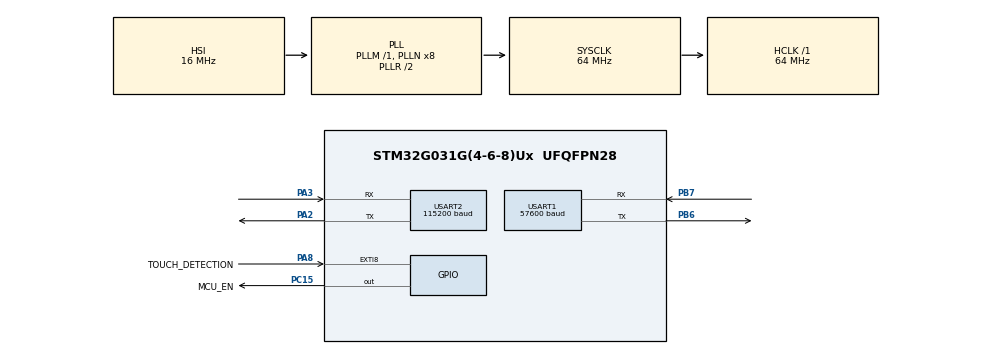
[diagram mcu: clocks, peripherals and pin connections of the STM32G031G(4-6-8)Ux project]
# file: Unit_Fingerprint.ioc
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Dma.Request0=USART1_TX
Dma.Request1=USART1_RX
Dma.Request2=USART2_RX
Dma.Request3=USART2_TX
Dma.USART1_RX.1.Direction=DMA_PERIPH_TO_MEMORY
Dma.USART1_RX.1.EventEnable=DISABLE
Dma.USART1_RX.1.Instance=DMA1_Channel2
Dma.USART1_RX.1.MemDataAlignment=DMA_MDATAALIGN_BYTE
Dma.USART1_RX.1.MemInc=DMA_MINC_ENABLE
Dma.USART1_RX.1.Mode=DMA_NORMAL
Dma.USART1_RX.1.PeriphDataAlignment=DMA_PDATAALIGN_BYTE
Dma.USART1_RX.1.PeriphInc=DMA_PINC_DISABLE
Dma.USART1_RX.1.Polarity=HAL_DMAMUX_REQ_GEN_RISING
Dma.USART1_RX.1.Priority=DMA_PRIORITY_LOW
Dma.USART1_RX.1.RequestNumber=1
Dma.USART1_RX.1.SignalID=NONE
Dma.USART1_RX.1.SyncEnable=DISABLE
Dma.USART1_RX.1.SyncPolarity=HAL_DMAMUX_SYNC_NO_EVENT
Dma.USART1_RX.1.SyncRequestNumber=1
Dma.USART1_RX.1.SyncSignalID=NONE
Dma.USART1_TX.0.Direction=DMA_MEMORY_TO_PERIPH
Dma.USART1_TX.0.EventEnable=DISABLE
Dma.USART1_TX.0.Instance=DMA1_Channel1
Dma.USART1_TX.0.MemDataAlignment=DMA_MDATAALIGN_BYTE
Dma.USART1_TX.0.MemInc=DMA_MINC_ENABLE
Dma.USART1_TX.0.Mode=DMA_NORMAL
Dma.USART1_TX.0.PeriphDataAlignment=DMA_PDATAALIGN_BYTE
Dma.USART1_TX.0.PeriphInc=DMA_PINC_DISABLE
Dma.USART1_TX.0.Polarity=HAL_DMAMUX_REQ_GEN_RISING
Dma.USART1_TX.0.Priority=DMA_PRIORITY_LOW
Dma.USART1_TX.0.RequestNumber=1
Dma.USART1_TX.0.SignalID=NONE
Dma.USART1_TX.0.SyncEnable=DISABLE
Dma.USART1_TX.0.SyncPolarity=HAL_DMAMUX_SYNC_NO_EVENT
Dma.USART1_TX.0.SyncRequestNumber=1
Dma.USART1_TX.0.SyncSignalID=NONE
Dma.USART2_RX.2.Direction=DMA_PERIPH_TO_MEMORY
Dma.USART2_RX.2.EventEnable=DISABLE
Dma.USART2_RX.2.Instance=DMA1_Channel3
Dma.USART2_RX.2.MemDataAlignment=DMA_MDATAALIGN_BYTE
Dma.USART2_RX.2.MemInc=DMA_MINC_ENABLE
Dma.USART2_RX.2.Mode=DMA_NORMAL
Dma.USART2_RX.2.PeriphDataAlignment=DMA_PDATAALIGN_BYTE
Dma.USART2_RX.2.PeriphInc=DMA_PINC_DISABLE
Dma.USART2_RX.2.Polarity=HAL_DMAMUX_REQ_GEN_RISING
Dma.USART2_RX.2.Priority=DMA_PRIORITY_LOW
Dma.USART2_RX.2.RequestNumber=1
Dma.USART2_RX.2.SignalID=NONE
Dma.USART2_RX.2.SyncEnable=DISABLE
Dma.USART2_RX.2.SyncPolarity=HAL_DMAMUX_SYNC_NO_EVENT
Dma.USART2_RX.2.SyncRequestNumber=1
Dma.USART2_RX.2.SyncSignalID=NONE
Dma.USART2_TX.3.Direction=DMA_MEMORY_TO_PERIPH
Dma.USART2_TX.3.EventEnable=DISABLE
Dma.USART2_TX.3.Instance=DMA1_Channel4
Dma.USART2_TX.3.MemDataAlignment=DMA_MDATAALIGN_BYTE
Dma.USART2_TX.3.MemInc=DMA_MINC_ENABLE
Dma.USART2_TX.3.Mode=DMA_NORMAL
Dma.USART2_TX.3.PeriphDataAlignment=DMA_PDATAALIGN_BYTE
Dma.USART2_TX.3.PeriphInc=DMA_PINC_DISABLE
Dma.USART2_TX.3.Polarity=HAL_DMAMUX_REQ_GEN_RISING
Dma.USART2_TX.3.Priority=DMA_PRIORITY_LOW
Dma.USART2_TX.3.RequestNumber=1
Dma.USART2_TX.3.SignalID=NONE
Dma.USART2_TX.3.SyncEnable=DISABLE
Dma.USART2_TX.3.SyncPolarity=HAL_DMAMUX_SYNC_NO_EVENT
Dma.USART2_TX.3.SyncRequestNumber=1
Dma.USART2_TX.3.SyncSignalID=NONE
IWDG.Prescaler=IWDG_PRESCALER_16
Mcu.Family=STM32G0
Mcu.Name=STM32G031G(4-6-8)Ux
Mcu.Package=UFQFPN28
NVIC.DMA1_Ch4_5_DMAMUX1_OVR_IRQn=true\:1\:0\:true\:false\:true\:false\:true\:true
NVIC.DMA1_Channel1_IRQn=true\:1\:0\:true\:false\:true\:false\:true\:true
NVIC.DMA1_Channel2_3_IRQn=true\:1\:0\:true\:false\:true\:false\:true\:true
NVIC.EXTI4_15_IRQn=true\:2\:0\:true\:false\:true\:true\:true\:true
NVIC.FLASH_IRQn=true\:1\:0\:true\:false\:true\:true\:true\:true
NVIC.TIM2_IRQn=true\:2\:0\:true\:false\:true\:true\:true\:true
NVIC.USART1_IRQn=true\:0\:0\:false\:false\:true\:false\:true\:true
NVIC.USART2_IRQn=true\:0\:0\:false\:false\:true\:false\:true\:true
PA2.GPIO_PuPd=GPIO_NOPULL
PA2.GPIO_Speed=GPIO_SPEED_FREQ_HIGH
PA2.Mode=Asynchronous
PA2.PinState=GPIO_PIN_RESET
PA2.Signal=USART2_TX
PA3.GPIO_PuPd=GPIO_NOPULL
PA3.GPIO_Speed=GPIO_SPEED_FREQ_HIGH
PA3.Mode=Asynchronous
PA3.PinState=GPIO_PIN_RESET
PA3.Signal=USART2_RX
PA8.GPIO_Label=TOUCH_DETECTION
PA8.GPIO_ModeDefaultEXTI=GPIO_MODE_IT_RISING_FALLING
PA8.GPIO_PuPd=GPIO_PULLDOWN
PA8.Signal=GPXTI8
PB6.GPIO_FM6=SYSCFG_FASTMODEPLUS_PB6
PB6.GPIO_PuPd=GPIO_PULLUP
PB6.GPIO_Speed=GPIO_SPEED_FREQ_HIGH
PB6.Mode=Asynchronous
PB6.Signal=USART1_TX
PB7.GPIO_FM7=SYSCFG_FASTMODEPLUS_PB7
PB7.GPIO_PuPd=GPIO_PULLUP
PB7.GPIO_Speed=GPIO_SPEED_FREQ_HIGH
PB7.Mode=Asynchronous
PB7.Signal=USART1_RX
PC15-OSC32_OUT\ (PC15).GPIO_Label=MCU_EN
PC15-OSC32_OUT\ (PC15).GPIO_ModeDefaultOutputPP=GPIO_MODE_OUTPUT_PP
PC15-OSC32_OUT\ (PC15).GPIO_PuPd=GPIO_NOPULL
PC15-OSC32_OUT\ (PC15).GPIO_Speed=GPIO_SPEED_FREQ_LOW
PC15-OSC32_OUT\ (PC15).PinState=GPIO_PIN_RESET
PC15-OSC32_OUT\ (PC15).Signal=GPIO_Output
ProjectManager.HeapSize=0x200
ProjectManager.StackSize=0x400
ProjectManager.TargetToolchain=STM32CubeIDE
RCC.ADCFreq_Value=64000000
RCC.AHBFreq_Value=64000000
RCC.CortexFreq_Value=64000000
RCC.EXTERNAL_CLOCK_VALUE=12288000
RCC.HCLKFreq_Value=64000000
RCC.HSE_VALUE=8000000
RCC.HSI_VALUE=16000000
RCC.LSE_VALUE=32768
RCC.SYSCLKFreq_VALUE=64000000
RCC.SYSCLKSource=RCC_SYSCLKSOURCE_PLLCLK
RCC.VCOOutputFreq_Value=128000000
TIM2.AutoReloadPreload=TIM_AUTORELOAD_PRELOAD_DISABLE
TIM2.Prescaler=63999
USART1.BaudRate=57600
USART1.StopBits=STOPBITS_2
USART1.VirtualMode-Asynchronous=VM_ASYNC
USART2.BaudRate=115200
USART2.VirtualMode-Asynchronous=VM_ASYNC
VP_IWDG_VS_IWDG.Mode=IWDG_Activate
VP_TIM2_VS_ClockSourceINT.Mode=Internal
board=custom

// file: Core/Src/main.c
/* USER CODE BEGIN Header */
/**
 ******************************************************************************
 * @file           : main.c
 * @brief          : Main program body
 ******************************************************************************
 * @attention
 *
 * Copyright (c) 2025 STMicroelectronics.
 * All rights reserved.
 *
 * This software is licensed under terms that can be found in the LICENSE file
 * in the root directory of this software component.
 * If no LICENSE file comes with this software, it is provided AS-IS.
 *
 ******************************************************************************
 */
/* USER CODE END Header */
#include "main.h"
#include "dma.h"
#include "iwdg.h"
#include "tim.h"
#include "usart.h"
#include "gpio.h"

/* USER CODE BEGIN Includes */
#include "stdbool.h"
#include "stdio.h"
#include "myflash.h"
#include "fingerprint.h"
#include "string.h"
/* USER CODE END Includes */

/* USER CODE BEGIN PD */
#define APPLICATION_ADDRESS (0x08002000)
#define SLEEP_TIME_BASE     (10)
#define WORK_MODE_BASE      (0)
#define INVALID_VALUE       (0xFF)

#define PACKET_MAX_SIZE 16  // Maximum packet size

typedef struct {
    uint8_t data[PACKET_MAX_SIZE];  // Data packet buffer
    uint16_t size;                  // Data packet size
    uint8_t cmd;                    // Command byte
    uint8_t valid;                  // Valid flag (1: valid, 0: invalid)
} buffer_cache_cmd_t;

buffer_cache_cmd_t buffer_cache_cmd = {0};  // Single buffer cache instance

/* USER CODE END PD */

/* USER CODE BEGIN PV */
__IO uint8_t finger_uart_buffer[2][BUFFER_SIZE];  // Buffer for finger UART data, double buffer for receiving data
__IO uint8_t stm32_uart_buffer[2][BUFFER_SIZE];   // Buffer for STM32 UART data, double buffer for receiving data
__IO uint8_t finger_uart_buffer_index = 0;        // Index to track the current position in the finger UART buffer
__IO uint8_t stm32_uart_buffer_index  = 0;        // Index to track the current position in the STM32 UART buffer

__IO uint8_t sleep_time = 0;  // sleep timeout

__IO uint8_t fingerprint_addr_buffer[4] = {0};  // Buffer to store the fingerprint module address (Big-Endian format)

__IO uint8_t rising_edge_irq_flag     = 0;  // Flag to indicate a rising edge interrupt occurred
__IO uint32_t rising_edge_irq_timeout = 0;  // Timestamp of the rising edge interrupt

__IO uint8_t falling_edge_irq_flag     = 0;  // Flag to indicate a falling edge interrupt occurred
__IO uint32_t falling_edge_irq_timeout = 0;  // Timestamp of the falling edge interrupt

__IO uint8_t fingerprint_mcu_power_status         = FINGERPRINT_MCU_POWER_OFF;
__IO uint8_t fingerprint_mcu_init_status          = FINGERPRINT_MCU_INIT_INCOMPLETE;
__IO uint8_t fingerprint_sensor_sleep_status      = FINGERPRINT_SENSOR_AWAKE;
__IO uint8_t fingerprint_data_forward_flag_status = FINGERPRINT_DATA_FORWARD_ENABLED;
__IO uint8_t fingerprint_wait_event_status        = WAIT_EVENT_NONE;
__IO uint8_t fingerprint_irq_trigger_status       = INTERRUPT_TRIGGER_NONE;
__IO uint8_t int_reset_flag                       = 0;

__IO uint8_t timer_timeout_status = TIMER_TIMEOUT_NOT_OCCURRED;

__IO uint8_t work_mode_status = WORK_MODE_SLEEP_PERIODIC;

__IO uint8_t fingerprint_module_busy_return_status = FINGERPRINT_BUSY_NOT_RETURNED;

__IO uint8_t finger_check_in_progress = 0;
__IO uint8_t finger_check_success     = 0;
__IO uint8_t finger_check_failed      = 0;

const uint8_t blocked_cmd[256] = {
    [0x08] = 1,
    [0x09] = 1,
    [0x0B] = 1,
    [0x12] = 1,
    [0x13] = 1,
    [0x15] = 1,
    [0x1A] = 1,
    [0x3B] = 1,
    [0xE0] = 1,
    [0xE1] = 1,
    [0xE2] = 1,
    [0xE3] = 1,
    [0xE4] = 1
};

/* USER CODE END PV */

void SystemClock_Config(void);

/* USER CODE BEGIN 0 */
void iap_set()
{
    uint8_t i;
    uint32_t *pVecTab = (uint32_t *)(0x20000000);
    for (i = 0; i < 48; i++) {
        *(pVecTab++) = *(__IO uint32_t *)(APPLICATION_ADDRESS + (i << 2));
    }
    /* Enable the SYSCFG peripheral clock*/
    __HAL_RCC_SYSCFG_CLK_ENABLE();
    __HAL_SYSCFG_REMAPMEMORY_SRAM();
}

void unit_fingerprint_init(void)
{
    uint8_t flag = 0;  // Flag to track if default values are set

    // Retrieve active sleep timeout
    uint8_t temp = get_sleep_time();
    if (temp == INVALID_VALUE) {
        sleep_time = SLEEP_TIME_BASE;  // Set to default timeout
        flag++;                        // Indicate a default value was set
    } else {
        sleep_time = temp;  // Use stored value
    }

    // If any default values were set, save them to flash memory
    if (flag != 0) {
        set_sleep_time(sleep_time);
    }

    flag = 0;  // Reset flag for work mode status

    // Retrieve work mode status
    temp = get_work_mode();
    if (temp == INVALID_VALUE) {
        work_mode_status = WORK_MODE_BASE;  // Set to default work mode
        flag++;                             // Indicate a default value was set
    } else {
        work_mode_status = temp;  // Use stored value
    }

    // If any default values were set, save them to flash memory
    if (flag != 0) {
        set_work_mode(work_mode_status);
    }

    // Store the address in a buffer (Big-Endian format)
    for(uint8_t i=0;i<4;i++){
        fingerprint_addr_buffer[i] = 0xFF;
    }
}

void process_buffer_cache_cmd()
{
    if (!packet_check(buffer_cache_cmd.data, buffer_cache_cmd.size)) {
        switch (buffer_cache_cmd.cmd) {
            case CMD_SET_SLEEP_TIME:
                set_sleep_time_handle(buffer_cache_cmd.data[10]);
                break;
            case CMD_GET_SLEEP_TIME:
                get_sleep_time_handle();
                break;
            case CMD_SET_WORK_MODE:
                set_work_mode_handle(buffer_cache_cmd.data[10]);
                break;
            case CMD_GET_WORK_MODE:
                get_work_mode_handle();
                break;
            case CMD_ACTIVATE_FINGERPRINT_MODULE:
                activate_fingerprint_module_handle();
                break;
            case CMD_GET_FINGERPRINT_MODULE_STATUS:
                get_fingerprint_module_status_handle();
                break;
            case CMD_SAVE_CONFIGURATION_STATUS:
                save_configuration_status_handle(buffer_cache_cmd.data[10]);
                break;
            case CMD_GET_FIRMWARE_VERSION:
                get_stm32_fw_ver();
                break;
            case CMD_IAP_RESET_STM32_MCU:
                iap_reset_stm32_mcu_handle();
                break;
            default:
                break;
        }
    } else {
        return_data_packet_handle(RECEIVE_PACKET_ERROR);
    }
}

/* USER CODE END 0 */

int main(void)
{
    /* USER CODE BEGIN 1 */
    iap_set();
    unit_fingerprint_init();
    /* USER CODE END 1 */

    /* MCU Configuration--------------------------------------------------------*/

    /* Reset of all peripherals, Initializes the Flash interface and the Systick. */
    HAL_Init();

    /* Configure the system clock */
    SystemClock_Config();

    /* Initialize all configured peripherals */
    MX_GPIO_Init();
    MX_DMA_Init();
    MX_USART1_UART_Init();
    MX_USART2_UART_Init();
    MX_IWDG_Init();
    MX_TIM2_Init();
    /* USER CODE BEGIN 2 */

    HAL_TIM_Base_Stop_IT(&htim2);
    __HAL_GPIO_EXTI_CLEAR_IT(TOUCH_DETECTION_Pin);
    HAL_NVIC_DisableIRQ(EXTI4_15_IRQn);

    // Initialize the fingerprint module
#if DEBUG
    printf("MCU Start\r\n");
#endif

    // Enable UART1 DMA idle-line reception interrupt
    HAL_UARTEx_ReceiveToIdle_DMA(&huart1, finger_uart_buffer[finger_uart_buffer_index], BUFFER_SIZE);
    finger_uart_buffer_index ^= 1;
    __HAL_DMA_DISABLE_IT(&hdma_usart1_rx, DMA_IT_HT);
    __HAL_UART_CLEAR_IDLEFLAG(&huart1);
    __HAL_UART_ENABLE_IT(&huart1, UART_IT_IDLE);

    fingerprint_init();

    // Enable UART1 DMA idle-line reception interrupt
    HAL_UARTEx_ReceiveToIdle_DMA(&huart2, stm32_uart_buffer[stm32_uart_buffer_index], BUFFER_SIZE);
    stm32_uart_buffer_index ^= 1;
    __HAL_DMA_DISABLE_IT(&hdma_usart2_rx, DMA_IT_HT);
    __HAL_UART_CLEAR_IDLEFLAG(&huart2);
    __HAL_UART_ENABLE_IT(&huart2, UART_IT_IDLE);

    /* USER CODE END 2 */

    /* Infinite loop */
    /* USER CODE BEGIN WHILE */
    while (1) {
        if (buffer_cache_cmd.valid) {
            // Process the buffer cache command
            process_buffer_cache_cmd();
            // Reset the buffer cache command after processing
            buffer_cache_cmd.valid = 0;
        } else {
            HAL_UARTEx_ReceiveToIdle_DMA(&huart2, stm32_uart_buffer[1 - stm32_uart_buffer_index], BUFFER_SIZE);
            __HAL_DMA_DISABLE_IT(&hdma_usart2_rx, DMA_IT_HT);
        }
        // If a timeout occurs, attempt to shut down the fingerprint module.
        if (timer_timeout_status == TIMER_TIMEOUT_OCCURRED) {
            start_finger_check();
        }

        /* USER CODE END WHILE */

        /* USER CODE BEGIN 3 */
        HAL_IWDG_Refresh(&hiwdg);
    }
    /* USER CODE END 3 */
}

void SystemClock_Config(void)
{
    RCC_OscInitTypeDef RCC_OscInitStruct = {0};
    RCC_ClkInitTypeDef RCC_ClkInitStruct = {0};

    /** Configure the main internal regulator output voltage
     */
    HAL_PWREx_ControlVoltageScaling(PWR_REGULATOR_VOLTAGE_SCALE1);

    /** Initializes the RCC Oscillators according to the specified parameters
     * in the RCC_OscInitTypeDef structure.
     */
    RCC_OscInitStruct.OscillatorType      = RCC_OSCILLATORTYPE_HSI | RCC_OSCILLATORTYPE_LSI;
    RCC_OscInitStruct.HSIState            = RCC_HSI_ON;
    RCC_OscInitStruct.HSIDiv              = RCC_HSI_DIV1;
    RCC_OscInitStruct.HSICalibrationValue = RCC_HSICALIBRATION_DEFAULT;
    RCC_OscInitStruct.LSIState            = RCC_LSI_ON;
    RCC_OscInitStruct.PLL.PLLState        = RCC_PLL_ON;
    RCC_OscInitStruct.PLL.PLLSource       = RCC_PLLSOURCE_HSI;
    RCC_OscInitStruct.PLL.PLLM            = RCC_PLLM_DIV1;
    RCC_OscInitStruct.PLL.PLLN            = 8;
    RCC_OscInitStruct.PLL.PLLP            = RCC_PLLP_DIV2;
    RCC_OscInitStruct.PLL.PLLQ            = RCC_PLLQ_DIV2;
    RCC_OscInitStruct.PLL.PLLR            = RCC_PLLR_DIV2;
    if (HAL_RCC_OscConfig(&RCC_OscInitStruct) != HAL_OK) {
        Error_Handler();
    }

    /** Initializes the CPU, AHB and APB buses clocks
     */
    RCC_ClkInitStruct.ClockType      = RCC_CLOCKTYPE_HCLK | RCC_CLOCKTYPE_SYSCLK | RCC_CLOCKTYPE_PCLK1;
    RCC_ClkInitStruct.SYSCLKSource   = RCC_SYSCLKSOURCE_PLLCLK;
    RCC_ClkInitStruct.AHBCLKDivider  = RCC_SYSCLK_DIV1;
    RCC_ClkInitStruct.APB1CLKDivider = RCC_HCLK_DIV1;

    if (HAL_RCC_ClockConfig(&RCC_ClkInitStruct, FLASH_LATENCY_2) != HAL_OK) {
        Error_Handler();
    }
}

/* USER CODE BEGIN 4 */
void HAL_GPIO_EXTI_Rising_Callback(uint16_t GPIO_Pin)
{
    if (GPIO_Pin == TOUCH_DETECTION_Pin) {
        rising_edge_irq_timeout = HAL_GetTick();
        rising_edge_irq_flag    = 1;
        if (fingerprint_irq_trigger_status == INTERRUPT_TRIGGER_WAKEUP) {
            set_exit_trigger_mode(INTERRUPT_TRIGGER_NONE);
            open_fingerprint_mcu();
            send_passive_wakeup_packet();
            start_timer_handle();
#if DEBUG
            printf("Exit Awake Fingerprint\r\n");
#endif
        }
    }
}
void HAL_GPIO_EXTI_Falling_Callback(uint16_t GPIO_Pin)
{
    if (GPIO_Pin == TOUCH_DETECTION_Pin) {
        falling_edge_irq_timeout = HAL_GetTick();
        falling_edge_irq_flag    = 1;
        if (fingerprint_irq_trigger_status == INTERRUPT_TRIGGER_RESET) {
            uint32_t time_diff = falling_edge_irq_timeout - rising_edge_irq_timeout;
            if (time_diff >= 5 && time_diff <= 15) {
                int_reset_flag = 1;
#if DEBUG
                printf("Sleep Reset Init Success\r\n");
#endif
            }
        }
    }
}

void HAL_TIM_PeriodElapsedCallback(TIM_HandleTypeDef *htim)
{
    if (htim == (&htim2)) {
        if (timer_timeout_status == TIMER_TIMEOUT_NOT_OCCURRED) {
            timer_timeout_status     = TIMER_TIMEOUT_OCCURRED;
            finger_check_in_progress = 0;
            finger_check_success     = 0;
            finger_check_failed      = 0;
            HAL_TIM_Base_Stop_IT(&htim2);
#if DEBUG
            printf("Timer Timeout\r\n");
#endif
        }
    }
}

void HAL_UARTEx_RxEventCallback(UART_HandleTypeDef *huart, uint16_t Size)
{
    if (huart == &huart1) {
        __HAL_UART_CLEAR_IDLEFLAG(&huart1);
        __HAL_UART_CLEAR_OREFLAG(&huart1);
        HAL_UARTEx_ReceiveToIdle_DMA(&huart1, finger_uart_buffer[finger_uart_buffer_index], BUFFER_SIZE);
        __HAL_DMA_DISABLE_IT(&hdma_usart1_rx, DMA_IT_HT);
        __HAL_UART_ENABLE_IT(&huart1, UART_IT_IDLE);
        finger_uart_buffer_index ^= 1;
#if DEBUG
        printf("rx_data_len: %d ", Size);
        printf("rx_data:");
        for (uint8_t i = 0; i < Size; i++) {
            printf(" 0x%02x", finger_uart_buffer[finger_uart_buffer_index][i]);
        }
        printf("\r\n");
#endif
        if (Size > 2) {
            if (fingerprint_data_forward_flag_status == FINGERPRINT_DATA_FORWARD_ENABLED) {
                usart2_transmit_dma(finger_uart_buffer[finger_uart_buffer_index], Size);
            } else {
                if (Size == 12) {
                    uint8_t code   = finger_uart_buffer[finger_uart_buffer_index][9];
                    uint8_t suffix = finger_uart_buffer[finger_uart_buffer_index][11];
                    if (fingerprint_wait_event_status == WAIT_EVENT_SLEEP_RETURN) {
                        if (code == 0x00 && suffix == 0x0A) {
                            fingerprint_sensor_sleep_status = FINGERPRINT_SENSOR_SLEEP;
                        } else if (code == 0x01 && suffix == 0x0B) {
                            fingerprint_sensor_sleep_status = FINGERPRINT_SENSOR_AWAKE;
                        }
                    } else if (fingerprint_wait_event_status == WAIT_EVENT_IMAGE_RETURN) {
                        finger_check_in_progress = 0;
                        if (code == 0x00 && suffix == 0x0A) {
                            finger_check_success++;
                        } else if (code == 0x02 && suffix == 0x0C) {
                            finger_check_failed++;
                        }
                    }
                }
            }

        } else if (Size == 1 && finger_uart_buffer[finger_uart_buffer_index][0] == 0x55) {
            if (fingerprint_mcu_init_status == FINGERPRINT_MCU_INIT_INCOMPLETE) {
                fingerprint_mcu_init_status = FINGERPRINT_MCU_INIT_COMPLETE;
            }
        }
        reset_timer_handle();
    } else if (huart == &huart2) {
        __HAL_UART_CLEAR_IDLEFLAG(&huart2);
        __HAL_UART_CLEAR_OREFLAG(&huart2);
        HAL_UARTEx_ReceiveToIdle_DMA(&huart2, stm32_uart_buffer[stm32_uart_buffer_index], BUFFER_SIZE);
        __HAL_DMA_DISABLE_IT(&hdma_usart2_rx, DMA_IT_HT);
        __HAL_UART_ENABLE_IT(&huart2, UART_IT_IDLE);
        stm32_uart_buffer_index ^= 1;
        if (Size >= 11) {
            // Cache package ID and command byte to avoid repeated access
            uint8_t package_id = stm32_uart_buffer[stm32_uart_buffer_index][6];  // Package ID
            uint8_t cmd_byte   = stm32_uart_buffer[stm32_uart_buffer_index][9];  // Command byte

            // Check if the package ID is 0x01
            if (package_id == 0x01) {
                // Command byte in range 0xD0-0xD8 or 0xFD
                if ((cmd_byte >= 0xD0 && cmd_byte <= 0xD7) || cmd_byte == 0xFD) {
                    // Cache data if not already valid
                    if (!buffer_cache_cmd.valid) {
                        memcpy(buffer_cache_cmd.data, stm32_uart_buffer[stm32_uart_buffer_index], Size);
                        buffer_cache_cmd.cmd   = cmd_byte;
                        buffer_cache_cmd.size  = Size;
                        buffer_cache_cmd.valid = 1;
                    }
                }
                // Check if the command is blocked
                else if (blocked_cmd[cmd_byte] || (cmd_byte == 0x0E && stm32_uart_buffer[stm32_uart_buffer_index][10] == 0x04)) {
                     return_data_packet_handle(OPERATION_BLOCKED);
                }
                // Default case for other valid command bytes
                else {
                    if (fingerprint_mcu_init_status == FINGERPRINT_MCU_INIT_COMPLETE) {
                        if (fingerprint_data_forward_flag_status == FINGERPRINT_DATA_FORWARD_ENABLED) {
                            usart1_transmit_dma(stm32_uart_buffer[stm32_uart_buffer_index], Size);
                        } else if (fingerprint_data_forward_flag_status == FINGERPRINT_DATA_FORWARD_DISABLED) {
                            fingerprint_module_busy_return_status = FINGERPRINT_BUSY_RETURNED;
                            return_data_packet_handle(FINGERPRINT_MODULE_BUSY);
                        }
                    } else {
                        return_data_packet_handle(FINGERPRINT_MODULE_NOT_OPEN);
                    }
                }
            }
            // Handle cases where the package ID is not 0x01
            else {
                if (fingerprint_mcu_init_status == FINGERPRINT_MCU_INIT_COMPLETE) {
                    if (fingerprint_data_forward_flag_status == FINGERPRINT_DATA_FORWARD_ENABLED) {
                        usart1_transmit_dma(stm32_uart_buffer[stm32_uart_buffer_index], Size);
                    } else if (fingerprint_data_forward_flag_status == FINGERPRINT_DATA_FORWARD_DISABLED) {
                        fingerprint_module_busy_return_status = FINGERPRINT_BUSY_RETURNED;
                        return_data_packet_handle(FINGERPRINT_MODULE_BUSY);
                    }
                } else {
                    return_data_packet_handle(FINGERPRINT_MODULE_NOT_OPEN);
                }
            }

        } else {
            return_data_packet_handle(RECEIVE_PACKET_ERROR);
        }
        reset_timer_handle();
    }
}

/* USER CODE END 4 */

void Error_Handler(void)
{
    __disable_irq();
    while (1) {
    }
}
